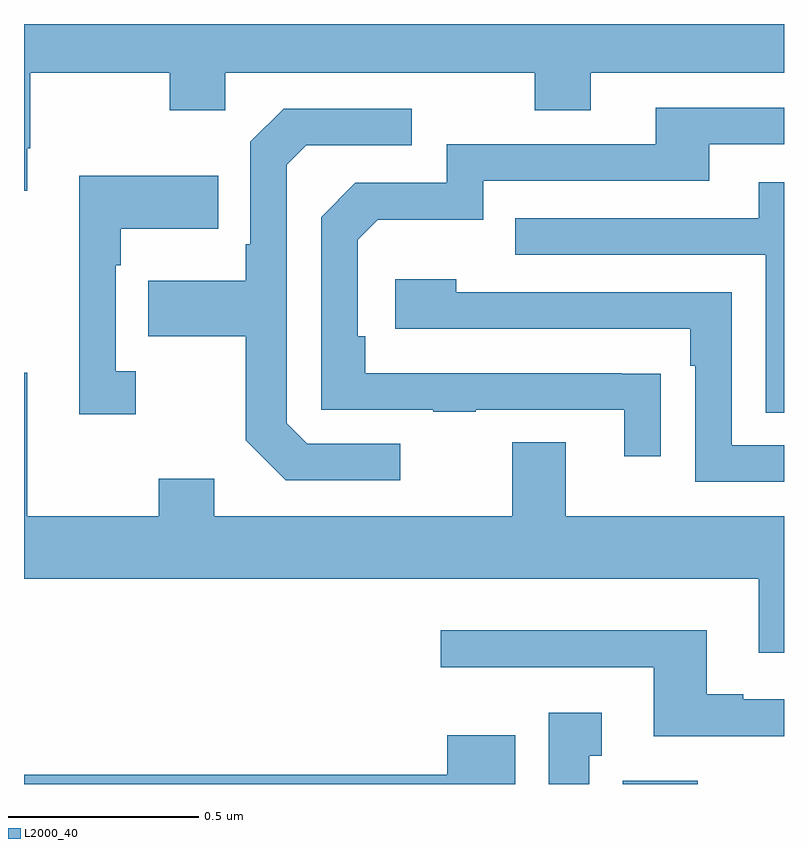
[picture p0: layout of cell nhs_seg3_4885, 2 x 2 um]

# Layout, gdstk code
import gdstk
lib = gdstk.Library(unit=1e-6, precision=1e-09)
def R(c, l, rs):  # rectangles x0, y0, x1, y1
    for r in rs: c.add(gdstk.rectangle(r[:2], r[2:], *l))
def P(c, l, *ps):  # polygons
    for p in ps: c.add(gdstk.Polygon(p, *l))
L2000_40 = (2000, 40)

nhs_seg3_4885 = lib.new_cell('nhs_seg3_4885')
R(nhs_seg3_4885, L2000_40, [(173.576,676.4,173.773,676.408)])
P(nhs_seg3_4885, L2000_40, [(172.009,678.073),(172.017,678.073),(172.017,678.272),(172.384,678.272),(172.384,678.173),(172.53,678.173),(172.53,678.272),(173.344,678.272),(173.344,678.173),(173.491,678.173),(173.491,678.272),(174,678.272),(174,678.4),(172,678.4),(172,677.961),(172.009,677.961)],
  [(173.675,677.48),(173.573,677.48),(173.573,677.481),(172.898,677.481),(172.898,677.578),(172.878,677.578),(172.878,677.832),(172.931,677.885),(173.208,677.885),(173.208,677.988),(173.803,677.988),(173.803,678.084),(174,678.084),(174,678.18),(173.663,678.18),(173.663,678.084),(173.112,678.084),(173.112,677.982),(172.872,677.982),(172.782,677.892),(172.782,677.385),(173.077,677.385),(173.077,677.38),(173.189,677.38),(173.189,677.385),(173.579,677.385),(173.579,677.262),(173.675,677.262)],
  [(172.99,677.295),(172.746,677.295),(172.692,677.349),(172.692,678.03),(172.743,678.081),(173.02,678.081),(173.02,678.177),(172.683,678.177),(172.596,678.09),(172.596,677.821),(172.584,677.821),(172.584,677.725),(172.327,677.725),(172.327,677.578),(172.584,677.578),(172.584,677.305),(172.689,677.199),(172.99,677.199)],
  [(172.294,677.486),(172.242,677.486),(172.242,677.765),(172.255,677.765),(172.255,677.861),(172.511,677.861),(172.511,678.001),(172.145,678.001),(172.145,677.373),(172.294,677.373)],
  [(174,677.983),(173.933,677.983),(173.933,677.889),(173.293,677.889),(173.293,677.793),(173.952,677.793),(173.952,677.377),(174,677.377)],
  [(174,677.292),(173.862,677.292),(173.862,677.694),(173.138,677.694),(173.138,677.728),(172.977,677.728),(172.977,677.598),(173.753,677.598),(173.753,677.501),(173.766,677.501),(173.766,677.196),(174,677.196)],
  [(174,677.104),(173.425,677.104),(173.425,677.299),(173.285,677.299),(173.285,677.104),(172.501,677.104),(172.501,677.203),(172.354,677.203),(172.354,677.104),(172.009,677.104),(172.009,677.482),(172,677.482),(172,676.94),(173.933,676.94),(173.933,676.746),(174,676.746)],
  [(174,676.623),(173.893,676.623),(173.893,676.636),(173.797,676.636),(173.797,676.804),(173.097,676.804),(173.097,676.707),(173.657,676.707),(173.657,676.526),(174,676.526)],
  [(173.488,676.475),(173.521,676.475),(173.521,676.588),(173.381,676.588),(173.381,676.4),(173.488,676.4)],
  [(173.293,676.528),(173.114,676.528),(173.114,676.424),(172,676.424),(172,676.4),(173.293,676.4)])

lib.write_gds('nhs_seg3_4885.gds')
